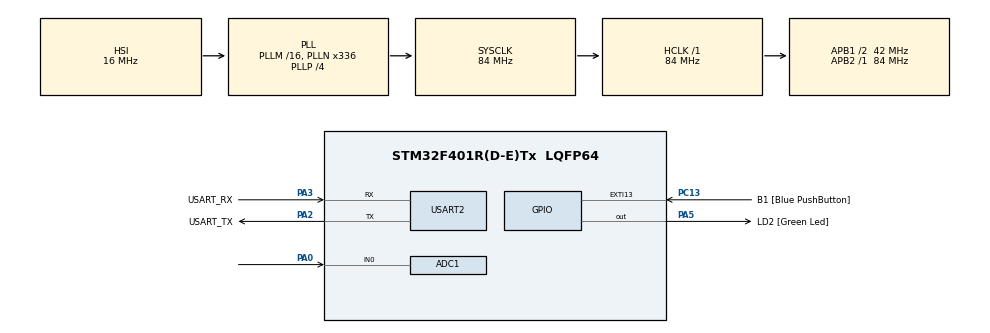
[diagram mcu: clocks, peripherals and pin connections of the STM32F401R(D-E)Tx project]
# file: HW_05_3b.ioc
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ADC1.Channel-0\#ChannelRegularConversion=ADC_CHANNEL_0
ADC1.ContinuousConvMode=DISABLE
ADC1.DMAContinuousRequests=ENABLE
ADC1.EOCSelection=ADC_EOC_SEQ_CONV
ADC1.ExternalTrigConv=ADC_EXTERNALTRIGCONV_T2_TRGO
ADC1.NbrOfConversion=1
ADC1.NbrOfConversionFlag=1
ADC1.Rank-0\#ChannelRegularConversion=1
ADC1.SamplingTime-0\#ChannelRegularConversion=ADC_SAMPLETIME_3CYCLES
ADC1.ScanConvMode=DISABLE
ADC1.master=1
Dma.ADC1.0.Direction=DMA_PERIPH_TO_MEMORY
Dma.ADC1.0.FIFOMode=DMA_FIFOMODE_DISABLE
Dma.ADC1.0.Instance=DMA2_Stream0
Dma.ADC1.0.MemDataAlignment=DMA_MDATAALIGN_HALFWORD
Dma.ADC1.0.MemInc=DMA_MINC_ENABLE
Dma.ADC1.0.Mode=DMA_CIRCULAR
Dma.ADC1.0.PeriphDataAlignment=DMA_PDATAALIGN_HALFWORD
Dma.ADC1.0.PeriphInc=DMA_PINC_DISABLE
Dma.ADC1.0.Priority=DMA_PRIORITY_LOW
Dma.Request0=ADC1
Dma.Request1=USART2_TX
Dma.USART2_TX.1.Direction=DMA_MEMORY_TO_PERIPH
Dma.USART2_TX.1.FIFOMode=DMA_FIFOMODE_DISABLE
Dma.USART2_TX.1.Instance=DMA1_Stream6
Dma.USART2_TX.1.MemDataAlignment=DMA_MDATAALIGN_BYTE
Dma.USART2_TX.1.MemInc=DMA_MINC_ENABLE
Dma.USART2_TX.1.Mode=DMA_NORMAL
Dma.USART2_TX.1.PeriphDataAlignment=DMA_PDATAALIGN_BYTE
Dma.USART2_TX.1.PeriphInc=DMA_PINC_DISABLE
Dma.USART2_TX.1.Priority=DMA_PRIORITY_LOW
Mcu.Family=STM32F4
Mcu.Name=STM32F401R(D-E)Tx
Mcu.Package=LQFP64
NVIC.ADC_IRQn=true\:0\:0\:false\:false\:true\:true\:true\:true
NVIC.DMA1_Stream6_IRQn=true\:0\:0\:false\:false\:true\:false\:true\:true
NVIC.DMA2_Stream0_IRQn=true\:0\:0\:false\:false\:true\:false\:true\:true
NVIC.PriorityGroup=NVIC_PRIORITYGROUP_0
NVIC.USART2_IRQn=true\:0\:0\:false\:false\:true\:true\:true\:true
PA0-WKUP.Signal=ADCx_IN0
PA13.GPIO_Label=TMS
PA13.Mode=Serial_Wire
PA13.Signal=SYS_JTMS-SWDIO
PA14.GPIO_Label=TCK
PA14.Mode=Serial_Wire
PA14.Signal=SYS_JTCK-SWCLK
PA2.GPIO_Label=USART_TX
PA2.GPIO_Mode=GPIO_MODE_AF_PP
PA2.GPIO_PuPd=GPIO_NOPULL
PA2.GPIO_Speed=GPIO_SPEED_FREQ_LOW
PA2.Mode=Asynchronous
PA2.Signal=USART2_TX
PA3.GPIO_Label=USART_RX
PA3.GPIO_Mode=GPIO_MODE_AF_PP
PA3.GPIO_PuPd=GPIO_NOPULL
PA3.GPIO_Speed=GPIO_SPEED_FREQ_LOW
PA3.Mode=Asynchronous
PA3.Signal=USART2_RX
PA5.GPIO_Label=LD2 [Green Led]
PA5.GPIO_Mode=GPIO_MODE_OUTPUT_PP
PA5.GPIO_PuPd=GPIO_NOPULL
PA5.GPIO_Speed=GPIO_SPEED_FREQ_LOW
PA5.Signal=GPIO_Output
PB3.GPIO_Label=SWO
PB3.Signal=SYS_JTDO-SWO
PC13-ANTI_TAMP.GPIO_Label=B1 [Blue PushButton]
PC13-ANTI_TAMP.GPIO_ModeDefaultEXTI=GPIO_MODE_IT_FALLING
PC13-ANTI_TAMP.GPIO_PuPd=GPIO_NOPULL
PC13-ANTI_TAMP.Signal=GPXTI13
PC14-OSC32_IN.Mode=LSE-External-Oscillator
PC14-OSC32_IN.Signal=RCC_OSC32_IN
PC15-OSC32_OUT.Mode=LSE-External-Oscillator
PC15-OSC32_OUT.Signal=RCC_OSC32_OUT
PH0\ -\ OSC_IN.Mode=HSE-External-Clock-Source
PH0\ -\ OSC_IN.Signal=RCC_OSC_IN
PH1\ -\ OSC_OUT.Mode=HSE-External-Clock-Source
PH1\ -\ OSC_OUT.Signal=RCC_OSC_OUT
ProjectManager.HeapSize=0x200
ProjectManager.StackSize=0x400
ProjectManager.TargetToolchain=STM32CubeIDE
RCC.48MHZClocksFreq_Value=48000000
RCC.AHBFreq_Value=84000000
RCC.APB1CLKDivider=RCC_HCLK_DIV2
RCC.APB1Freq_Value=42000000
RCC.APB1TimFreq_Value=84000000
RCC.APB2Freq_Value=84000000
RCC.APB2TimFreq_Value=84000000
RCC.CortexFreq_Value=84000000
RCC.HCLKFreq_Value=84000000
RCC.HSE_VALUE=8000000
RCC.HSI_VALUE=16000000
RCC.PLLN=336
RCC.PLLP=RCC_PLLP_DIV4
RCC.PLLQ=7
RCC.SYSCLKFreq_VALUE=84000000
RCC.SYSCLKSource=RCC_SYSCLKSOURCE_PLLCLK
RCC.VCOOutputFreq_Value=336000000
SH.ADCx_IN0.0=ADC1_IN0,IN0
TIM2.Channel-PWM\ Generation1\ No\ Output=TIM_CHANNEL_1
TIM2.Period=1000-1
TIM2.Prescaler=84-1
TIM2.TIM_MasterOutputTrigger=TIM_TRGO_UPDATE
USART2.VirtualMode=VM_ASYNC
VP_TIM2_VS_no_output1.Mode=PWM Generation1 No Output
board=NUCLEO-F401RE

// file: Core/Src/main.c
/* USER CODE BEGIN Header */
/**
  ******************************************************************************
  * @file           : main.c
  * @brief          : Main program body
  ******************************************************************************
  * @attention
  *
  * Copyright (c) 2023 STMicroelectronics.
  * All rights reserved.
  *
  * This software is licensed under terms that can be found in the LICENSE file
  * in the root directory of this software component.
  * If no LICENSE file comes with this software, it is provided AS-IS.
  *
  ******************************************************************************
  */
/* USER CODE END Header */
#include "main.h"

/* USER CODE BEGIN Includes */
#include "math.h"
/* USER CODE END Includes */

/* USER CODE BEGIN PD */
#define SAMPLE_SIZE 1000
#define VDD 3.3
#define LDR_CONV 100000
/* USER CODE END PD */

ADC_HandleTypeDef hadc1;
DMA_HandleTypeDef hdma_adc1;

TIM_HandleTypeDef htim2;

UART_HandleTypeDef huart2;
DMA_HandleTypeDef hdma_usart2_tx;

/* USER CODE BEGIN PV */
uint16_t adc_val[SAMPLE_SIZE];
char buff[80];
int start = 0;
/* USER CODE END PV */

void SystemClock_Config(void);
static void MX_GPIO_Init(void);
static void MX_DMA_Init(void);
static void MX_USART2_UART_Init(void);
static void MX_ADC1_Init(void);
static void MX_TIM2_Init(void);

/* USER CODE BEGIN PFP */
void HAL_ADC_ConvCpltCallback(ADC_HandleTypeDef *hadc){
	uint32_t sum = 0;

	//sum in a variable all the 1000 samples
	for(uint16_t i = 0 ; i<SAMPLE_SIZE; i++)
		sum += adc_val[i];

	//calculate the average and convert it into voltage
	float adc_avg = ((sum / SAMPLE_SIZE)*VDD)/4095.0;
	//convert the voltage into resistance value
	float ldr = (adc_avg * LDR_CONV)/(VDD  - adc_avg);
	//convert the resistance value into LUX value
	float lux = 10*pow((LDR_CONV/ldr), 1.25);

	//print into a buffer and send through UART with DMA
	uint8_t length = snprintf(buff, sizeof(buff),"Voltage: %.2f V, Resistance: %.2f ohm, LUX: %.2f \n", adc_avg, ldr, lux);
	if(HAL_UART_Transmit_DMA(&huart2, (uint8_t*) buff, length)!= HAL_OK)
		Error_Handler();
}
/* USER CODE END PFP */

int main(void)
{

  /* MCU Configuration--------------------------------------------------------*/

  /* Reset of all peripherals, Initializes the Flash interface and the Systick. */
  HAL_Init();

  /* Configure the system clock */
  SystemClock_Config();

  /* Initialize all configured peripherals */
  MX_GPIO_Init();
  MX_DMA_Init();
  MX_USART2_UART_Init();
  MX_ADC1_Init();
  MX_TIM2_Init();
  /* USER CODE BEGIN 2 */

  //start ADC in DMA mode
  if(HAL_ADC_Start_DMA(&hadc1,(uint32_t*)adc_val,SAMPLE_SIZE) != HAL_OK)
	  Error_Handler();
  //start the timer that will trigger the ADC
  if(HAL_TIM_PWM_Start(&htim2, TIM_CHANNEL_1) != HAL_OK)
	  Error_Handler();
  /* USER CODE END 2 */

  /* Infinite loop */
  while (1)
  {
  }
}

void SystemClock_Config(void)
{
  RCC_OscInitTypeDef RCC_OscInitStruct = {0};
  RCC_ClkInitTypeDef RCC_ClkInitStruct = {0};

  /** Configure the main internal regulator output voltage
  */
  __HAL_RCC_PWR_CLK_ENABLE();
  __HAL_PWR_VOLTAGESCALING_CONFIG(PWR_REGULATOR_VOLTAGE_SCALE2);

  /** Initializes the RCC Oscillators according to the specified parameters
  * in the RCC_OscInitTypeDef structure.
  */
  RCC_OscInitStruct.OscillatorType = RCC_OSCILLATORTYPE_HSI;
  RCC_OscInitStruct.HSIState = RCC_HSI_ON;
  RCC_OscInitStruct.HSICalibrationValue = RCC_HSICALIBRATION_DEFAULT;
  RCC_OscInitStruct.PLL.PLLState = RCC_PLL_ON;
  RCC_OscInitStruct.PLL.PLLSource = RCC_PLLSOURCE_HSI;
  RCC_OscInitStruct.PLL.PLLM = 16;
  RCC_OscInitStruct.PLL.PLLN = 336;
  RCC_OscInitStruct.PLL.PLLP = RCC_PLLP_DIV4;
  RCC_OscInitStruct.PLL.PLLQ = 7;
  if (HAL_RCC_OscConfig(&RCC_OscInitStruct) != HAL_OK)
  {
    Error_Handler();
  }

  /** Initializes the CPU, AHB and APB buses clocks
  */
  RCC_ClkInitStruct.ClockType = RCC_CLOCKTYPE_HCLK|RCC_CLOCKTYPE_SYSCLK
                              |RCC_CLOCKTYPE_PCLK1|RCC_CLOCKTYPE_PCLK2;
  RCC_ClkInitStruct.SYSCLKSource = RCC_SYSCLKSOURCE_PLLCLK;
  RCC_ClkInitStruct.AHBCLKDivider = RCC_SYSCLK_DIV1;
  RCC_ClkInitStruct.APB1CLKDivider = RCC_HCLK_DIV2;
  RCC_ClkInitStruct.APB2CLKDivider = RCC_HCLK_DIV1;

  if (HAL_RCC_ClockConfig(&RCC_ClkInitStruct, FLASH_LATENCY_2) != HAL_OK)
  {
    Error_Handler();
  }
}

static void MX_ADC1_Init(void)
{

  ADC_ChannelConfTypeDef sConfig = {0};

  /** Configure the global features of the ADC (Clock, Resolution, Data Alignment and number of conversion)
  */
  hadc1.Instance = ADC1;
  hadc1.Init.ClockPrescaler = ADC_CLOCK_SYNC_PCLK_DIV4;
  hadc1.Init.Resolution = ADC_RESOLUTION_12B;
  hadc1.Init.ScanConvMode = DISABLE;
  hadc1.Init.ContinuousConvMode = DISABLE;
  hadc1.Init.DiscontinuousConvMode = DISABLE;
  hadc1.Init.ExternalTrigConvEdge = ADC_EXTERNALTRIGCONVEDGE_RISING;
  hadc1.Init.ExternalTrigConv = ADC_EXTERNALTRIGCONV_T2_TRGO;
  hadc1.Init.DataAlign = ADC_DATAALIGN_RIGHT;
  hadc1.Init.NbrOfConversion = 1;
  hadc1.Init.DMAContinuousRequests = ENABLE;
  hadc1.Init.EOCSelection = ADC_EOC_SEQ_CONV;
  if (HAL_ADC_Init(&hadc1) != HAL_OK)
  {
    Error_Handler();
  }

  /** Configure for the selected ADC regular channel its corresponding rank in the sequencer and its sample time.
  */
  sConfig.Channel = ADC_CHANNEL_0;
  sConfig.Rank = 1;
  sConfig.SamplingTime = ADC_SAMPLETIME_3CYCLES;
  if (HAL_ADC_ConfigChannel(&hadc1, &sConfig) != HAL_OK)
  {
    Error_Handler();
  }

}

static void MX_TIM2_Init(void)
{

  TIM_MasterConfigTypeDef sMasterConfig = {0};
  TIM_OC_InitTypeDef sConfigOC = {0};

  htim2.Instance = TIM2;
  htim2.Init.Prescaler = 84-1;
  htim2.Init.CounterMode = TIM_COUNTERMODE_UP;
  htim2.Init.Period = 1000-1;
  htim2.Init.ClockDivision = TIM_CLOCKDIVISION_DIV1;
  htim2.Init.AutoReloadPreload = TIM_AUTORELOAD_PRELOAD_DISABLE;
  if (HAL_TIM_PWM_Init(&htim2) != HAL_OK)
  {
    Error_Handler();
  }
  sMasterConfig.MasterOutputTrigger = TIM_TRGO_UPDATE;
  sMasterConfig.MasterSlaveMode = TIM_MASTERSLAVEMODE_DISABLE;
  if (HAL_TIMEx_MasterConfigSynchronization(&htim2, &sMasterConfig) != HAL_OK)
  {
    Error_Handler();
  }
  sConfigOC.OCMode = TIM_OCMODE_PWM1;
  sConfigOC.Pulse = 0;
  sConfigOC.OCPolarity = TIM_OCPOLARITY_HIGH;
  sConfigOC.OCFastMode = TIM_OCFAST_DISABLE;
  if (HAL_TIM_PWM_ConfigChannel(&htim2, &sConfigOC, TIM_CHANNEL_1) != HAL_OK)
  {
    Error_Handler();
  }

}

static void MX_USART2_UART_Init(void)
{

  huart2.Instance = USART2;
  huart2.Init.BaudRate = 115200;
  huart2.Init.WordLength = UART_WORDLENGTH_8B;
  huart2.Init.StopBits = UART_STOPBITS_1;
  huart2.Init.Parity = UART_PARITY_NONE;
  huart2.Init.Mode = UART_MODE_TX_RX;
  huart2.Init.HwFlowCtl = UART_HWCONTROL_NONE;
  huart2.Init.OverSampling = UART_OVERSAMPLING_16;
  if (HAL_UART_Init(&huart2) != HAL_OK)
  {
    Error_Handler();
  }

}

static void MX_DMA_Init(void)
{

  /* DMA controller clock enable */
  __HAL_RCC_DMA2_CLK_ENABLE();
  __HAL_RCC_DMA1_CLK_ENABLE();

  /* DMA interrupt init */
  /* DMA1_Stream6_IRQn interrupt configuration */
  HAL_NVIC_SetPriority(DMA1_Stream6_IRQn, 0, 0);
  HAL_NVIC_EnableIRQ(DMA1_Stream6_IRQn);
  /* DMA2_Stream0_IRQn interrupt configuration */
  HAL_NVIC_SetPriority(DMA2_Stream0_IRQn, 0, 0);
  HAL_NVIC_EnableIRQ(DMA2_Stream0_IRQn);

}

static void MX_GPIO_Init(void)
{
  GPIO_InitTypeDef GPIO_InitStruct = {0};

  /* GPIO Ports Clock Enable */
  __HAL_RCC_GPIOC_CLK_ENABLE();
  __HAL_RCC_GPIOH_CLK_ENABLE();
  __HAL_RCC_GPIOA_CLK_ENABLE();
  __HAL_RCC_GPIOB_CLK_ENABLE();

  /*Configure GPIO pin Output Level */
  HAL_GPIO_WritePin(LD2_GPIO_Port, LD2_Pin, GPIO_PIN_RESET);

  /*Configure GPIO pin : B1_Pin */
  GPIO_InitStruct.Pin = B1_Pin;
  GPIO_InitStruct.Mode = GPIO_MODE_IT_FALLING;
  GPIO_InitStruct.Pull = GPIO_NOPULL;
  HAL_GPIO_Init(B1_GPIO_Port, &GPIO_InitStruct);

  /*Configure GPIO pin : LD2_Pin */
  GPIO_InitStruct.Pin = LD2_Pin;
  GPIO_InitStruct.Mode = GPIO_MODE_OUTPUT_PP;
  GPIO_InitStruct.Pull = GPIO_NOPULL;
  GPIO_InitStruct.Speed = GPIO_SPEED_FREQ_LOW;
  HAL_GPIO_Init(LD2_GPIO_Port, &GPIO_InitStruct);

}

void Error_Handler(void)
{
  __disable_irq();
  while (1)
  {
  }
}
